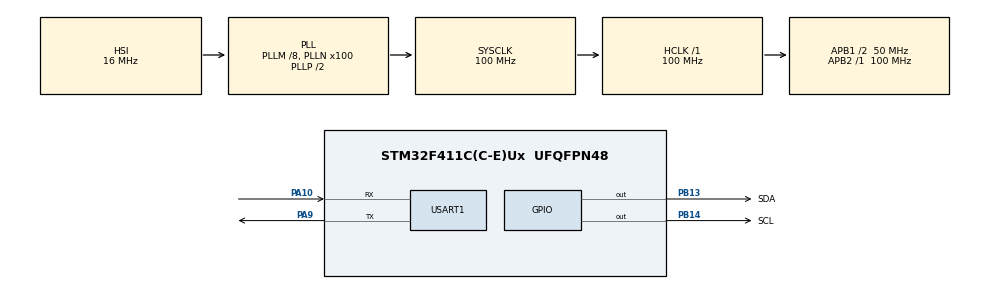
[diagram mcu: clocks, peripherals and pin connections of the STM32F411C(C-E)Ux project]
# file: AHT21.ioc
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FREERTOS.Tasks01=defaultTask,24,128,StartDefaultTask,Default,NULL,Dynamic,NULL,NULL
Mcu.Family=STM32F4
Mcu.Name=STM32F411C(C-E)Ux
Mcu.Package=UFQFPN48
NVIC.PriorityGroup=NVIC_PRIORITYGROUP_4
NVIC.TIM1_UP_TIM10_IRQn=true\:15\:0\:false\:false\:true\:false\:false\:true\:true
NVIC.TimeBase=TIM1_UP_TIM10_IRQn
NVIC.TimeBaseIP=TIM1
PA10.Mode=Asynchronous
PA10.Signal=USART1_RX
PA13.Mode=Serial_Wire
PA13.Signal=SYS_JTMS-SWDIO
PA14.Mode=Serial_Wire
PA14.Signal=SYS_JTCK-SWCLK
PA9.Mode=Asynchronous
PA9.Signal=USART1_TX
PB13.GPIO_Label=SDA
PB13.GPIO_ModeDefaultOutputPP=GPIO_MODE_OUTPUT_OD
PB13.GPIO_PuPd=GPIO_NOPULL
PB13.PinState=GPIO_PIN_SET
PB13.Signal=GPIO_Output
PB14.GPIO_Label=SCL
PB14.GPIO_ModeDefaultOutputPP=GPIO_MODE_OUTPUT_OD
PB14.GPIO_PuPd=GPIO_NOPULL
PB14.PinState=GPIO_PIN_SET
PB14.Signal=GPIO_Output
PC14-OSC32_IN.Mode=LSE-External-Clock-Source
PC14-OSC32_IN.Signal=RCC_OSC32_IN
PC15-OSC32_OUT.Mode=LSE-External-Clock-Source
PC15-OSC32_OUT.Signal=RCC_OSC32_OUT
PH0\ -\ OSC_IN.Mode=HSE-External-Clock-Source
PH0\ -\ OSC_IN.Signal=RCC_OSC_IN
PH1\ -\ OSC_OUT.Mode=HSE-External-Clock-Source
PH1\ -\ OSC_OUT.Signal=RCC_OSC_OUT
ProjectManager.HeapSize=0x200
ProjectManager.StackSize=0x400
ProjectManager.TargetToolchain=MDK-ARM V5.32
RCC.48MHZClocksFreq_Value=50000000
RCC.AHBFreq_Value=100000000
RCC.APB1CLKDivider=RCC_HCLK_DIV2
RCC.APB1Freq_Value=50000000
RCC.APB1TimFreq_Value=100000000
RCC.APB2Freq_Value=100000000
RCC.APB2TimFreq_Value=100000000
RCC.CortexFreq_Value=100000000
RCC.HCLKFreq_Value=100000000
RCC.HSE_VALUE=25000000
RCC.HSI_VALUE=16000000
RCC.LSE_VALUE=32768
RCC.PLLM=8
RCC.PLLN=100
RCC.SYSCLKFreq_VALUE=100000000
RCC.SYSCLKSource=RCC_SYSCLKSOURCE_PLLCLK
RCC.VCOOutputFreq_Value=200000000
USART1.VirtualMode=VM_ASYNC
VP_FREERTOS_VS_CMSIS_V2.Mode=CMSIS_V2
VP_SYS_VS_tim1.Mode=TIM1
board=custom

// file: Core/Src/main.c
/* USER CODE BEGIN Header */
/**
  ******************************************************************************
  * @file           : main.c
  * @brief          : Main program body
  ******************************************************************************
  * @attention
  *
  * Copyright (c) 2026 STMicroelectronics.
  * All rights reserved.
  *
  * This software is licensed under terms that can be found in the LICENSE file
  * in the root directory of this software component.
  * If no LICENSE file comes with this software, it is provided AS-IS.
  *
  ******************************************************************************
  */
/* USER CODE END Header */
#include "main.h"
#include "cmsis_os.h"
#include "usart.h"
#include "gpio.h"

/* USER CODE BEGIN Includes */
#include <stdio.h>
#include "core_cm4.h"
// #include "iic_hal.h"   // iic test
#include "elog.h"
/* USER CODE END Includes */

/* USER CODE BEGIN PV */

// iic_bus_t AHT_bus = {
//   .IIC_SDA_PORT = GPIOB,
//   .IIC_SDA_PIN = GPIO_PIN_13,
//   .IIC_SCL_PORT = GPIOB,
//   .IIC_SCL_PIN = GPIO_PIN_14,
// };

/* USER CODE END PV */

void SystemClock_Config(void);
void MX_FREERTOS_Init(void);

/* USER CODE BEGIN 0 */
void dwt_delay_init(void)
{
  CoreDebug->DEMCR |= CoreDebug_DEMCR_TRCENA_Msk;     // 使能 DWT 模块
  DWT->CYCCNT = 0;                                    // 清零计数器
  DWT->CTRL |= DWT_CTRL_CYCCNTENA_Msk;                // 使得 Cycle counter
}

void delay_us(uint32_t us)
{
  uint32_t start = DWT->CYCCNT;
  uint32_t tick = us * (SystemCoreClock / 1000000);
  // printf("can runing here\r\n");
  // 直接下载代码时会卡死在下代码，按下复位键或开启调试或开启上位机 RTT 可以成功运行
  while ((DWT->CYCCNT - start) < tick);
  // printf("can not runing here\r\n");
}

void delay_ms(uint32_t ms)
{
  uint32_t start = DWT->CYCCNT;
  uint32_t tick = ms * (SystemCoreClock / 1000);

  while ((DWT->CYCCNT - start) < tick);
}

void EasyLogger_Init(void)
{
  // 初始化 elog
  elog_init();
  // 使能文字颜色
  elog_set_text_color_enabled(true);
  // 设置日志格式
  elog_set_fmt(ELOG_LVL_ASSERT, ELOG_FMT_ALL & ~(ELOG_FMT_P_INFO | ELOG_FMT_T_INFO | ELOG_FMT_TIME));
  elog_set_fmt(ELOG_LVL_ERROR, ELOG_FMT_ALL& ~(ELOG_FMT_P_INFO | ELOG_FMT_T_INFO | ELOG_FMT_TIME));
  elog_set_fmt(ELOG_LVL_WARN, ELOG_FMT_ALL & ~(ELOG_FMT_P_INFO | ELOG_FMT_T_INFO | ELOG_FMT_TIME));
  elog_set_fmt(ELOG_LVL_INFO, ELOG_FMT_ALL & ~(ELOG_FMT_P_INFO | ELOG_FMT_T_INFO | ELOG_FMT_TIME));
  elog_set_fmt(ELOG_LVL_DEBUG, ELOG_FMT_ALL & ~(ELOG_FMT_P_INFO | ELOG_FMT_T_INFO | ELOG_FMT_TIME));
  elog_set_fmt(ELOG_LVL_VERBOSE, ELOG_FMT_ALL & ~(ELOG_FMT_P_INFO | ELOG_FMT_T_INFO | ELOG_FMT_TIME));
  // 开启日志
  elog_start();
}
/* USER CODE END 0 */

int main(void)
{

  /* MCU Configuration--------------------------------------------------------*/

  /* Reset of all peripherals, Initializes the Flash interface and the Systick. */
  HAL_Init();

  /* Configure the system clock */
  SystemClock_Config();

  /* USER CODE BEGIN SysInit */
  EasyLogger_Init();
  dwt_delay_init();
  // IICInit(&AHT_bus);       // iic test
  /* USER CODE END SysInit */

  /* Initialize all configured peripherals */
  MX_GPIO_Init();
  MX_USART1_UART_Init();
  /* USER CODE BEGIN 2 */
  printf("hello world\r\n");

  // // IIC test
  // IICStart(&AHT_bus);
  // IICSendByte(&AHT_bus, 0x70);
  // IICWaitAck(&AHT_bus);
  // IICStop(&AHT_bus);

  /* USER CODE END 2 */

  /* Init scheduler */
  osKernelInitialize();  /* Call init function for freertos objects (in freertos.c) */
  MX_FREERTOS_Init();

  /* Start scheduler */
  osKernelStart();
  /* We should never get here as control is now taken by the scheduler */
  /* Infinite loop */
  while (1)
  {

  }
}

void SystemClock_Config(void)
{
  RCC_OscInitTypeDef RCC_OscInitStruct = {0};
  RCC_ClkInitTypeDef RCC_ClkInitStruct = {0};

  /** Configure the main internal regulator output voltage
  */
  __HAL_RCC_PWR_CLK_ENABLE();
  __HAL_PWR_VOLTAGESCALING_CONFIG(PWR_REGULATOR_VOLTAGE_SCALE1);

  /** Initializes the RCC Oscillators according to the specified parameters
  * in the RCC_OscInitTypeDef structure.
  */
  RCC_OscInitStruct.OscillatorType = RCC_OSCILLATORTYPE_HSI;
  RCC_OscInitStruct.HSIState = RCC_HSI_ON;
  RCC_OscInitStruct.HSICalibrationValue = RCC_HSICALIBRATION_DEFAULT;
  RCC_OscInitStruct.PLL.PLLState = RCC_PLL_ON;
  RCC_OscInitStruct.PLL.PLLSource = RCC_PLLSOURCE_HSI;
  RCC_OscInitStruct.PLL.PLLM = 8;
  RCC_OscInitStruct.PLL.PLLN = 100;
  RCC_OscInitStruct.PLL.PLLP = RCC_PLLP_DIV2;
  RCC_OscInitStruct.PLL.PLLQ = 4;
  if (HAL_RCC_OscConfig(&RCC_OscInitStruct) != HAL_OK)
  {
    Error_Handler();
  }

  /** Initializes the CPU, AHB and APB buses clocks
  */
  RCC_ClkInitStruct.ClockType = RCC_CLOCKTYPE_HCLK|RCC_CLOCKTYPE_SYSCLK
                              |RCC_CLOCKTYPE_PCLK1|RCC_CLOCKTYPE_PCLK2;
  RCC_ClkInitStruct.SYSCLKSource = RCC_SYSCLKSOURCE_PLLCLK;
  RCC_ClkInitStruct.AHBCLKDivider = RCC_SYSCLK_DIV1;
  RCC_ClkInitStruct.APB1CLKDivider = RCC_HCLK_DIV2;
  RCC_ClkInitStruct.APB2CLKDivider = RCC_HCLK_DIV1;

  if (HAL_RCC_ClockConfig(&RCC_ClkInitStruct, FLASH_LATENCY_3) != HAL_OK)
  {
    Error_Handler();
  }
}

void HAL_TIM_PeriodElapsedCallback(TIM_HandleTypeDef *htim)
{
  if (htim->Instance == TIM1) {
    HAL_IncTick();
  }
}

void Error_Handler(void)
{
  __disable_irq();
  while (1)
  {
  }
}

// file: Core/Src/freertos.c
/* USER CODE BEGIN Header */
/**
 ******************************************************************************
 * File Name          : freertos.c
 * Description        : Code for freertos applications
 ******************************************************************************
 * @attention
 *
 * Copyright (c) 2026 STMicroelectronics.
 * All rights reserved.
 *
 * This software is licensed under terms that can be found in the LICENSE file
 * in the root directory of this software component.
 * If no LICENSE file comes with this software, it is provided AS-IS.
 *
 ******************************************************************************
 */
/* USER CODE END Header */

#include "FreeRTOS.h"
#include "task.h"
#include "main.h"
#include "cmsis_os.h"
#include "queue.h"

/* USER CODE BEGIN Includes */
#include "iic_hal.h"
#include "bsp_aht21_driver.h"
#include "bsp_aht21_handler.h"
#include "aht21_iic_bridge.h"
#include <stdio.h>
#include "elog.h"
/* USER CODE END Includes */

/* USER CODE BEGIN PM */

/* Timebase interface: get system tick count in ms */
static uint32_t aht21_timebase_get_tick(void)
{
  return HAL_GetTick();
}

/* Yield interface for RTOS delay */
static uint32_t aht21_rtos_yield(const uint32_t ms)
{
  osDelay(ms);
  return 0;
}
/* USER CODE END PM */

/* USER CODE BEGIN Variables */

osThreadId_t aht21TaskHandle;
const osThreadAttr_t aht21Task_attributes = {
    .name = "AHT21Task",
    .stack_size = 256 * 4,
    .priority = (osPriority_t)osPriorityNormal,
};

osThreadId_t aht21SenderTaskHandle;
const osThreadAttr_t aht21SenderTask_attributes = {
    .name = "AHT21Sender",
    .stack_size = 128 * 4,
    .priority = (osPriority_t)osPriorityNormal,
};

// IIC bus instance to create IIC driver instance
static iic_bus_t AHT_bus = {
    .IIC_SDA_PORT = GPIOB,
    .IIC_SDA_PIN = GPIO_PIN_13,
    .IIC_SCL_PORT = GPIOB,
    .IIC_SCL_PIN = GPIO_PIN_14,
};

// IIC driver interface instance
static iic_driver_interface_t aht21_iic_interface;

// Timebase instance
static timebase_interface_t aht21_timebase = {
    .pf_get_tick_count = aht21_timebase_get_tick,
};

// OS yield instance
static yield_interface_t aht21_yield = {
    .pf_rtos_yield = aht21_rtos_yield,
};

// --- Forward declarations for OS interface implementations ---
static aht21_handler_status_t aht21_freertos_queue_create(void ** const queue_handle,
                                                           uint32_t queue_length,
                                                           uint32_t item_size);
static aht21_handler_status_t aht21_freertos_queue_send(void ** const queue_handle,
                                                         void * const item,
                                                         uint32_t timeout);
static aht21_handler_status_t aht21_freertos_queue_receive(void ** const queue_handle,
                                                            void * const item,
                                                            uint32_t timeout);
static void aht21_os_delay(uint32_t ms);

// OS interface instance
static os_interface_t aht21_os_interface = {
    .os_delay_ms      = aht21_os_delay,
    .os_queue_create  = aht21_freertos_queue_create,
    .os_queue_send    = aht21_freertos_queue_send,
    .os_queue_receive = aht21_freertos_queue_receive,
};

// Handler function table — input resources passed to AHT21_Handler_Task
static handler_function_table_t aht21_func_table = {
    .p_os_interface        = &aht21_os_interface,
    .p_iic_driver_interface = &aht21_iic_interface,
    .p_timebase_interface  = &aht21_timebase,
    .p_yield_interface     = &aht21_yield,
};

// Client handle — filled by the handler task; used by external threads to
// send events into the handler's event queue.
static aht21_handler_client_t aht21_client = {
    .event_queue_handle    = NULL,
};

// Task initialisation — bundles input resources and output client for the
// handler task.  Passed as the single void* argument to AHT21_Handler_Task.
static aht21_task_init_t aht21_task_init = {
    .p_func_table = &aht21_func_table,
    .p_client     = &aht21_client,
};

/* USER CODE END Variables */
/* Definitions for defaultTask */
osThreadId_t defaultTaskHandle;
const osThreadAttr_t defaultTask_attributes = {
    .name = "defaultTask",
    .stack_size = 128 * 4,
    .priority = (osPriority_t)osPriorityNormal,
};

/* USER CODE BEGIN FunctionPrototypes */

static void AHT21_Sender_Task(void *argument);

/* USER CODE END FunctionPrototypes */

void StartDefaultTask(void *argument);

void MX_FREERTOS_Init(void); /* (MISRA C 2004 rule 8.1) */

void MX_FREERTOS_Init(void)
{

  /* Create the thread(s) */
  /* creation of defaultTask */
  defaultTaskHandle = osThreadNew(StartDefaultTask, NULL, &defaultTask_attributes);

  /* USER CODE BEGIN RTOS_THREADS */
  /* add threads, ... */

  /* Initialise the IIC bridge once before any task uses it */
  IIC_Drive_Interface_Init(&aht21_iic_interface, &AHT_bus);

  /* Create the AHT21 handler task — passes the task-init struct bundling
     the function table (input) and client handle (output).                 */
  aht21TaskHandle = osThreadNew(AHT21_Handler_Task, &aht21_task_init, &aht21Task_attributes);

  /* Create the sender task �?periodically posts read requests to the handler */
  aht21SenderTaskHandle = osThreadNew(AHT21_Sender_Task, NULL, &aht21SenderTask_attributes);

  /* USER CODE END RTOS_THREADS */

}

void StartDefaultTask(void *argument)
{
  for (;;)
  {
    osDelay(1);
  }
}

/* USER CODE BEGIN Application */

/*==============================================================================
 * OS Interface Implementations
 *   Wraps FreeRTOS CMSIS-V2 APIs to match the os_interface_t function table.
 *============================================================================*/

/**
 * @brief  Create a message queue (maps to osMessageQueueNew).
 */
static aht21_handler_status_t aht21_freertos_queue_create(void ** const queue_handle,
                                                           uint32_t queue_length,
                                                           uint32_t item_size)
{
    osMessageQueueId_t mq;

    mq = osMessageQueueNew(queue_length, item_size, NULL);
    if (mq == NULL)
    {
        return AHT21_HANDLER_ERROR_RESOURCE;
    }

    *queue_handle = (void *)mq;
    return AHT21_HANDLER_OK;
}

/**
 * @brief  Send an item to a message queue (maps to osMessageQueuePut).
 */
static aht21_handler_status_t aht21_freertos_queue_send(void ** const queue_handle,
                                                         void * const item,
                                                         uint32_t timeout)
{
    osStatus_t status;
    osMessageQueueId_t mq;

    mq     = (osMessageQueueId_t)(*queue_handle);
    status = osMessageQueuePut(mq, item, 0U, timeout);

    if (status != osOK)
    {
        return (status == osErrorTimeout) ? AHT21_HANDLER_ERROR_TIMEOUT
                                          : AHT21_HANDLER_ERROR;
    }
    return AHT21_HANDLER_OK;
}

/**
 * @brief  Receive an item from a message queue (maps to osMessageQueueGet).
 */
static aht21_handler_status_t aht21_freertos_queue_receive(void ** const queue_handle,
                                                            void * const item,
                                                            uint32_t timeout)
{
    osStatus_t status;
    osMessageQueueId_t mq;

    mq     = (osMessageQueueId_t)(*queue_handle);
    status = osMessageQueueGet(mq, item, NULL, timeout);

    if (status != osOK)
    {
        return (status == osErrorTimeout) ? AHT21_HANDLER_ERROR_TIMEOUT
                                          : AHT21_HANDLER_ERROR;
    }
    return AHT21_HANDLER_OK;
}

/**
 * @brief  Blocking OS delay (maps to osDelay).
 */
static void aht21_os_delay(uint32_t ms)
{
    osDelay(ms);
}

/*==============================================================================
 * Callback invoked by the handler task after each successful read.
 *============================================================================*/

/**
 * @brief  Print the temperature and humidity via printf.
 * @param  temperature: Pointer to the temperature value
 * @param  humidity:    Pointer to the humidity value
 */
static void aht21_printf_callback(float *temperature, float *humidity)
{
    if ((temperature != NULL) && (humidity != NULL))
    {
        printf("AHT21: Temperature = %.2f C, Humidity = %.2f %%\r\n", *temperature, *humidity);
    }
}

/*==============================================================================
 * Sender Task periodically posts read-requests to the handler's event queue.
 *============================================================================*/

/**
 * @brief  Sender task: waits for the handler to initialise, then periodically
 *         sends BOTH-type read events to the handler's event queue.
 * @param  argument: Not used
 * @retval None
 */
static void AHT21_Sender_Task(void *argument)
{
    float temp_buf;
    float humi_buf;
    aht21_handler_event_t event;
    aht21_handler_status_t ret;

    (void)argument;   /* unused */

    log_i("AHT21 Sender Task started");

    /* Wait until the handler task has created the queue and exposed its handle */
    while (aht21_client.event_queue_handle == NULL)
    {
        osDelay(50);
    }

    log_i("AHT21 Sender: handler ready, starting periodic reads");

    /* Prepare the event template reused every cycle */
    event.temperature  = &temp_buf;
    event.humidity     = &humi_buf;
    event.type         = BOTH;
    event.lifetime     = 1000;           /* 1000 ms cache window                  */
    event.pf_callback  = aht21_printf_callback;

    for (;;)
    {
        /* Measurement period: 2 seconds */
        osDelay(2000);

        ret = aht21_func_table.p_os_interface->os_queue_send(
                    &aht21_client.event_queue_handle,
                    (void *)&event,
                    100);

        if (AHT21_HANDLER_OK != ret)
        {
            log_w("AHT21 Sender: queue send failed, ret: %d", ret);
        }
    }
}

/* USER CODE END Application */
